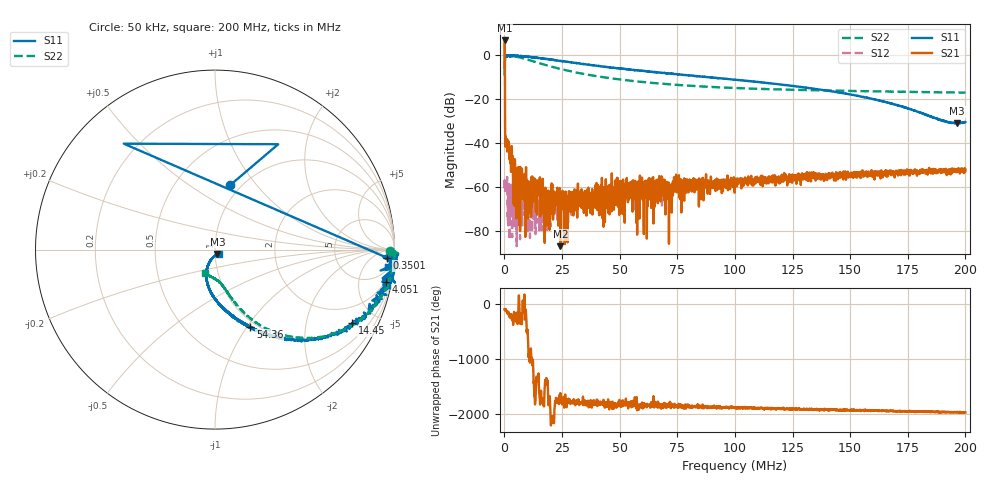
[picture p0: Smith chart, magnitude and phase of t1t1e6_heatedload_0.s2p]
! 27-Aug-26 2:17:43 PM
! E:\20260827_VNA\T1T1E6_HEATEDLOAD_0.S2P
! CHANNEL.1
! TR.MEASUREMENT
! CORRECTED.DATA
# GHZ S RI R 50.0
! FREQ.GHZ  S11RE  S11IM  S21RE  S21IM  S12RE  S12IM  S22RE  S22IM
!; PortSelection: Port_12
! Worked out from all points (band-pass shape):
!   2000 points, 50 kHz to 200 MHz, reference 50 ohm
!   highest |S21| = 6.83 dB at 150 kHz (marker M1); lowest = -87.0 dB at 24.26 MHz (marker M2)
!   |S21| within 3 dB of the highest: 125.8 kHz to 158.1 kHz (32.33 kHz wide, 22.8 % of centre)
!   lowest |S11| = -31.0 dB at 196.4 MHz (marker M3), VSWR 1.06, Z = 51.3 - j2.55 ohm
!   |S11| at or under -10 dB: 88.78963 MHz to 89.00042 MHz (210.8 kHz wide, 0.237 % of centre); 89.21852 MHz to 89.35409 MHz (135.6 kHz wide, 0.152 % of centre); 89.67 MHz to end of sweep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
!   |S22| runs from -17.0 to 0.2 dB; largest |S21 - S12| = 2.2
!   S11 on the Smith chart (normalised r, x): 50 kHz: 0.89, +0.74; 350.1 kHz: 21, -24; 4.051 MHz: 2, -11; 14.45 MHz: 1.10, -3.67; 54.36 MHz: 0.93, -1.04; 200 MHz: 1.04, -0.05
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5e-05  0.085 0.3594  -0.0759 -0.5219  -9.33e-05 -0.000938  0.9774 -0.00531
0.000150025  0.3523 0.587  -1.112 -1.892  0.00131 0.000954  1.018 -0.0193
0.000350075  0.9592 -0.0456  -0.00259 -0.00797  -0.00102 -9.71e-05  0.9995 -0.0366
0.0012503  0.9383 -0.0431  -0.00901 -0.0013  0.00071 -0.000345  0.9925 -0.0876
0.002350575  0.9224 -0.1165  -0.00666 0.00324  -0.000348 -0.000433  0.9747 -0.1626
0.004051001  0.9531 -0.1778  0.000938 0.00134  -0.000288 -0.000233  0.9174 -0.2652
0.006151526  0.9554 -0.2211  0.000826 0.00132  8.41e-05 0.000463  0.8336 -0.3739
0.0144536  0.765 -0.4106  0.000113 0.000816  8.65e-05 0.000128  0.4739 -0.4914
0.01785445  0.7029 -0.463  0.000346 0.000134  0.000182 0.000342  0.3754 -0.4735
0.02425605  0.5556 -0.4971  -4.49e-05 -2e-07  0.000331 0.000228  0.2526 -0.4229
0.03345835  0.4072 -0.4978  0.000866 0.000189  0.000504 0.000134  0.1609 -0.3516
0.04356088  0.2895 -0.4689  1.32e-05 -0.000156  0.000424 -0.000195  0.1109 -0.2958
0.05436358  0.1965 -0.4312  0.000844 -0.000708  0.000661 -0.000141  0.0801 -0.2538
0.06676668  0.125 -0.389  0.00035 -0.000716  0.000628 -0.000497  0.0585 -0.2231
0.07206801  0.1011 -0.375  -5.7e-06 -0.00104  0.000706 -0.000768  0.0515 -0.2123
0.07486871  0.0904 -0.3605  0.000428 -0.000622  0.000781 -0.000641  0.0477 -0.2078
0.07696923  0.0793 -0.3549  0.000572 -0.000436  0.000498 -0.0012  0.0458 -0.2038
0.100075  0.00295 -0.2807  0.000202 -0.00148  0.000228 -0.00136  0.0227 -0.1797
0.1333833  -0.0463 -0.1707  -0.000795 -0.00161  -0.000887 -0.00159  -0.00406 -0.1615
0.1666917  -0.0339 -0.0766  -0.00182 -0.00104  -0.00166 -0.00128  -0.0292 -0.1474
0.1963991  0.0136 -0.0248  -0.00219 -0.0005  -0.00235 -0.000444  -0.0522 -0.1326
0.2  0.0207 -0.022  -0.00249 -0.000326  -0.00227 -0.000401  -0.0561 -0.1299
